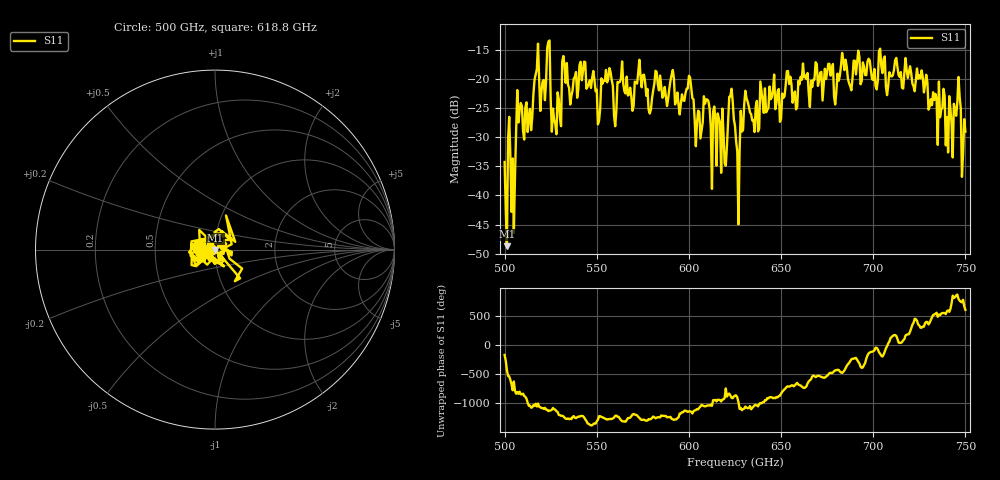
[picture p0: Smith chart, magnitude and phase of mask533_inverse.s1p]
!Created with skrf (http://scikit-rf.org).
# GHz S MA R 50.0
!freq magS11 angS11
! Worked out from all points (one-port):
!   401 points, 500 GHz to 750 GHz, reference 50 ohm
!   lowest |S11| = -48.7 dB at 501.2 GHz (marker M1), VSWR 1.01, Z = 50.1 - j0.354 ohm
!   |S11| at or under -10 dB: start of sweep to end of sweep
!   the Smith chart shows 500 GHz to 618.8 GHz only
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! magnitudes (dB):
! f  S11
! 500 GHz  -34.3
! 501.2 GHz  -48.7
! 503.1 GHz  -33.3
! 504.4 GHz  -33.7
! 507.5 GHz  -27.5
! 513.8 GHz  -25.2
! 517.5 GHz  -18.3
! 520.6 GHz  -20.5
! 523.8 GHz  -13.6
! 526.9 GHz  -27.0
! 531.2 GHz  -17.1
! 542.5 GHz  -18.8
! 550.6 GHz  -27.8
! 562.5 GHz  -20.5
! 593.8 GHz  -22.4
! 605 GHz  -25.5
! 609.4 GHz  -23.5
! 618.8 GHz  -29.3
! 623.1 GHz  -21.7
! 625 GHz  -28.1
! 626.2 GHz  -32.5
! 631.2 GHz  -23.4
! 656.2 GHz  -24.1
! 687.5 GHz  -21.3
! 718.8 GHz  -19.9
! 741.9 GHz  -25.1
! 746.2 GHz  -19.7
! 750 GHz  -29.1
